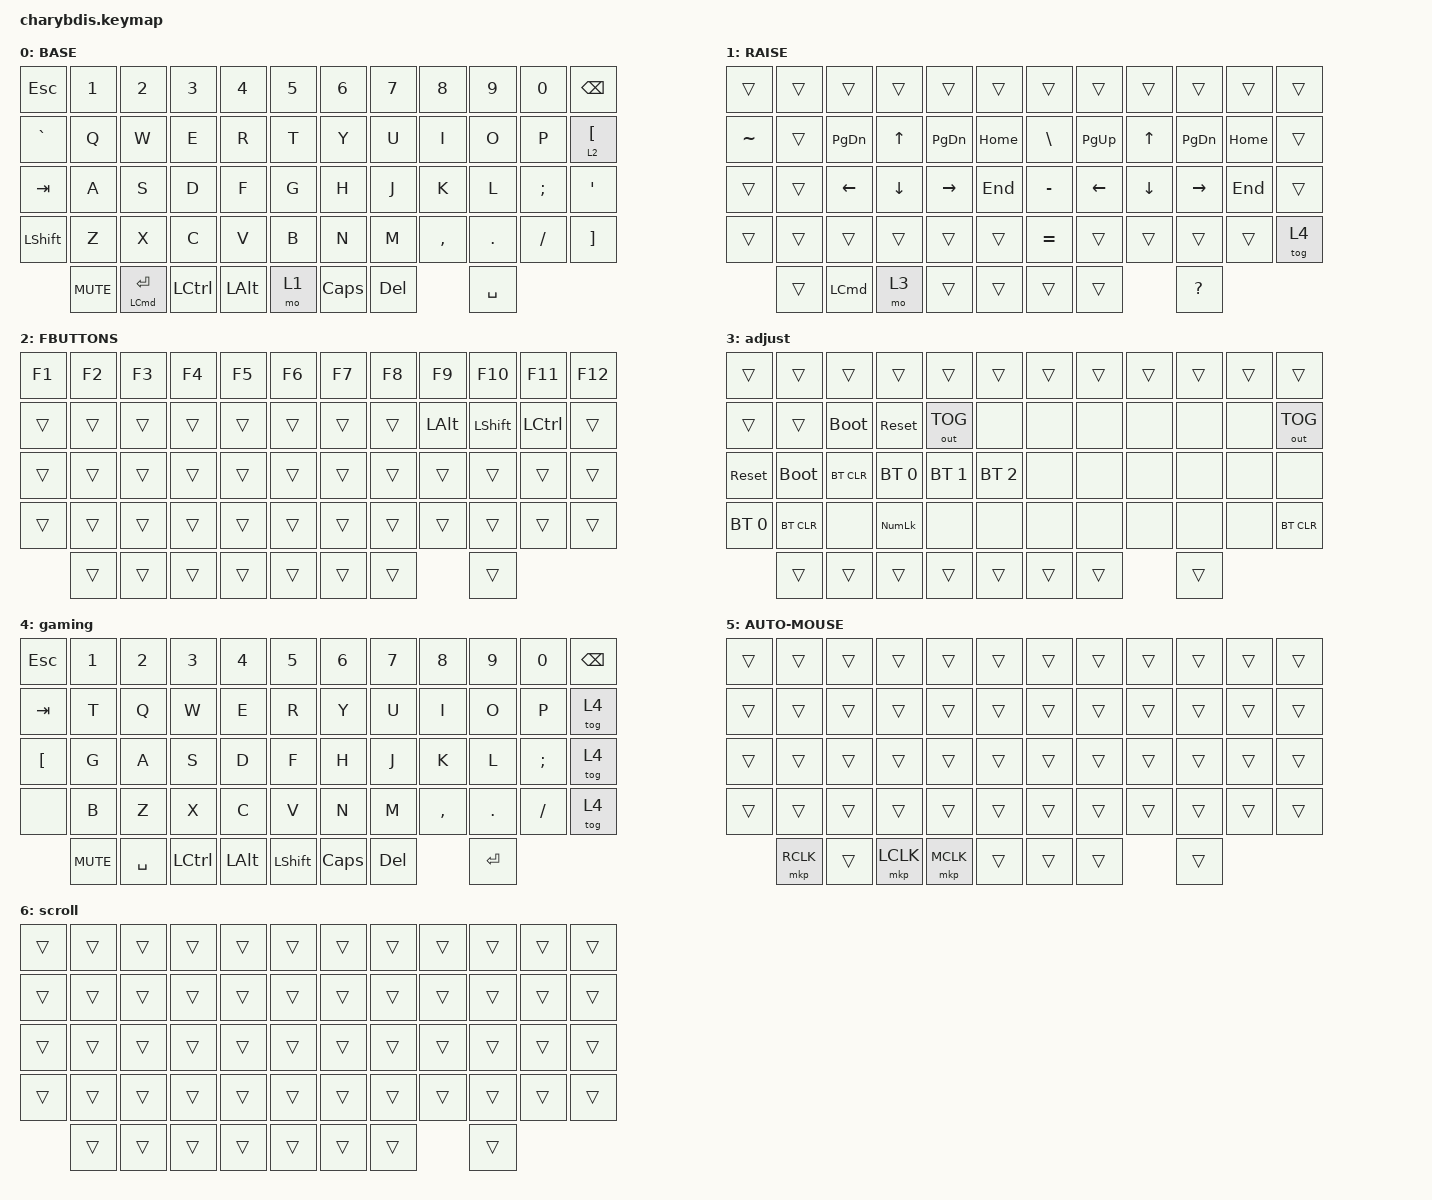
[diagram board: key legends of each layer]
#include <behaviors/mouse_keys.dtsi>
#include <dt-bindings/zmk/mouse.h>
#include <behaviors.dtsi>
#include <dt-bindings/zmk/bt.h>
#include <dt-bindings/zmk/keys.h>
#include <dt-bindings/zmk/outputs.h>
#include <dt-bindings/zmk/pointing.h>

#define U_TAPPING_TERM 200

&lt { quick-tap-ms = <219>; };

&mt { quick-tap-ms = <219>; };

/ {
    chosen { zmk,matrix_transform = &default_transform; };
};

/ {
    combos {
        compatible = "zmk,combos";

        ParaLeft {
            bindings = <&kp LEFT_PARENTHESIS>;
            key-positions = <17 16>;
        };

        ParaRight {
            bindings = <&kp RIGHT_PARENTHESIS>;
            key-positions = <18 19>;
        };

        BrakLeft {
            bindings = <&kp LEFT_BRACKET>;
            key-positions = <28 29>;
        };

        BrakRight {
            bindings = <&kp RIGHT_BRACKET>;
            key-positions = <30 31>;
        };

        BraceLeft {
            bindings = <&kp LEFT_BRACE>;
            key-positions = <40 41>;
        };

        BraceRight {
            bindings = <&kp RIGHT_BRACE>;
            key-positions = <42 43>;
        };
    };

    behaviors {
        u_mt: u_mt {
            compatible = "zmk,behavior-hold-tap";
            label = "u_mt";
            #binding-cells = <2>;
            tapping_term_ms = <U_TAPPING_TERM>;
            flavor = "tap-preferred";
            bindings = <&kp>, <&kp>;
        };

        u_lt: u_lt {
            compatible = "zmk,behavior-hold-tap";
            label = "u_lt";
            #binding-cells = <2>;
            tapping_term_ms = <U_TAPPING_TERM>;
            flavor = "tap-preferred";
            bindings = <&mo>, <&kp>;
        };

        Shift_Enter: Shift_Enter {
            compatible = "zmk,behavior-hold-tap";
            label = "SHIFT_ENTER";
            bindings = <&kp>, <&kp>;

            #binding-cells = <2>;
            hold-trigger-key-positions = <40>;
            tapping-term-ms = <100>;
        };
    };

    keymap {
        compatible = "zmk,keymap";

        BASE {
            bindings = <
&kp ESC         &kp N1      &kp N2                  &kp N3     &kp N4        &kp N5  &kp N6               &kp N7      &kp N8     &kp N9     &kp N0    &kp BACKSPACE
&kp GRAVE       &kp Q       &kp W                   &kp E      &kp R         &kp T                 &kp Y  &kp U       &kp I      &kp O      &kp P     &lt 2 LEFT_BRACKET
&kp TAB         &kp A       &kp S                   &kp D      &kp F         &kp G                 &kp H  &kp J       &kp K      &kp L      &kp SEMI  &kp APOS
&kp LEFT_SHIFT  &kp Z       &kp X                   &kp C      &kp V         &kp B                 &kp N  &kp M       &kp COMMA  &kp DOT    &kp FSLH  &kp RIGHT_BRACKET
                &kp K_MUTE  &mt LEFT_COMMAND ENTER  &kp LCTRL  &kp LEFT_ALT  &mo 1   &kp CAPSLOCK         &kp DELETE             &kp SPACE
            >;
        };

        RAISE {
            bindings = <
&trans     &trans  &trans            &trans          &trans           &trans    &trans             &trans          &trans          &trans           &trans    &trans
&kp TILDE  &trans  &kp PG_DN         &kp UP_ARROW    &kp PAGE_DOWN    &kp HOME          &kp BSLH   &kp PG_UP       &kp UP_ARROW    &kp PG_DN        &kp HOME  &trans
&trans     &trans  &kp LEFT_ARROW    &kp DOWN_ARROW  &kp RIGHT_ARROW  &kp END           &kp MINUS  &kp LEFT_ARROW  &kp DOWN_ARROW  &kp RIGHT_ARROW  &kp END   &trans
&trans     &trans  &trans            &trans          &trans           &trans            &kp EQUAL  &trans          &trans          &trans           &trans    &tog 4
           &trans  &kp LEFT_COMMAND  &mo 3           &trans           &trans    &trans             &trans                          &kp QUESTION
            >;
        };

        FBUTTONS {
            bindings = <
&kp F1  &kp F2  &kp F3  &kp F4  &kp F5  &kp F6  &kp F7          &kp F8  &kp F9    &kp F10         &kp F11    &kp F12
&trans  &trans  &trans  &trans  &trans  &trans          &trans  &trans  &kp LALT  &kp LEFT_SHIFT  &kp LCTRL  &trans
&trans  &trans  &trans  &trans  &trans  &trans          &trans  &trans  &trans    &trans          &trans     &trans
&trans  &trans  &trans  &trans  &trans  &trans          &trans  &trans  &trans    &trans          &trans     &trans
        &trans  &trans  &trans  &trans  &trans  &trans          &trans            &trans
            >;
        };

        adjust {
            bindings = <
&trans        &trans       &trans       &trans        &trans        &trans        &trans         &trans  &trans  &trans  &trans  &trans
&trans        &trans       &bootloader  &sys_reset    &out OUT_TOG  &none                 &none  &none   &none   &none   &none   &out OUT_TOG
&sys_reset    &bootloader  &bt BT_CLR   &bt BT_SEL 0  &bt BT_SEL 1  &bt BT_SEL 2          &none  &none   &none   &none   &none   &none
&bt BT_SEL 0  &bt BT_CLR   &none        &kp KP_NUM    &none         &none                 &none  &none   &none   &none   &none   &bt BT_CLR
              &trans       &trans       &trans        &trans        &trans        &trans         &trans          &trans
            >;
        };

        gaming {
            bindings = <
&kp ESCAPE        &kp NUMBER_1  &kp NUMBER_2  &kp NUMBER_3  &kp NUMBER_4  &kp N5          &kp NUMBER_6         &kp N7   &kp N8     &kp N9     &kp N0         &kp BACKSPACE
&kp TAB           &kp T         &kp Q         &kp W         &kp E         &kp R                         &kp Y  &kp U    &kp I      &kp O      &kp P          &tog 4
&kp LEFT_BRACKET  &kp G         &kp A         &kp S         &kp D         &kp F                         &kp H  &kp J    &kp K      &kp L      &kp SEMICOLON  &tog 4
&none             &kp B         &kp Z         &kp X         &kp C         &kp V                         &kp N  &kp M    &kp COMMA  &kp DOT    &kp SLASH      &tog 4
                  &kp K_MUTE    &kp SPACE     &kp LCTRL     &kp LEFT_ALT  &kp LEFT_SHIFT  &kp CAPSLOCK         &kp DEL             &kp ENTER
            >;
        };

        AUTO-MOUSE {
            bindings = <
&trans  &trans     &trans  &trans     &trans     &trans  &trans          &trans  &trans  &trans  &trans  &trans
&trans  &trans     &trans  &trans     &trans     &trans          &trans  &trans  &trans  &trans  &trans  &trans
&trans  &trans     &trans  &trans     &trans     &trans          &trans  &trans  &trans  &trans  &trans  &trans
&trans  &trans     &trans  &trans     &trans     &trans          &trans  &trans  &trans  &trans  &trans  &trans
        &mkp RCLK  &trans  &mkp LCLK  &mkp MCLK  &trans  &trans          &trans          &trans
            >;
        };

        scroll {
            bindings = <
&trans  &trans  &trans  &trans  &trans  &trans  &trans          &trans  &trans  &trans  &trans  &trans
&trans  &trans  &trans  &trans  &trans  &trans          &trans  &trans  &trans  &trans  &trans  &trans
&trans  &trans  &trans  &trans  &trans  &trans          &trans  &trans  &trans  &trans  &trans  &trans
&trans  &trans  &trans  &trans  &trans  &trans          &trans  &trans  &trans  &trans  &trans  &trans
        &trans  &trans  &trans  &trans  &trans  &trans          &trans          &trans
            >;
        };
    };
};
